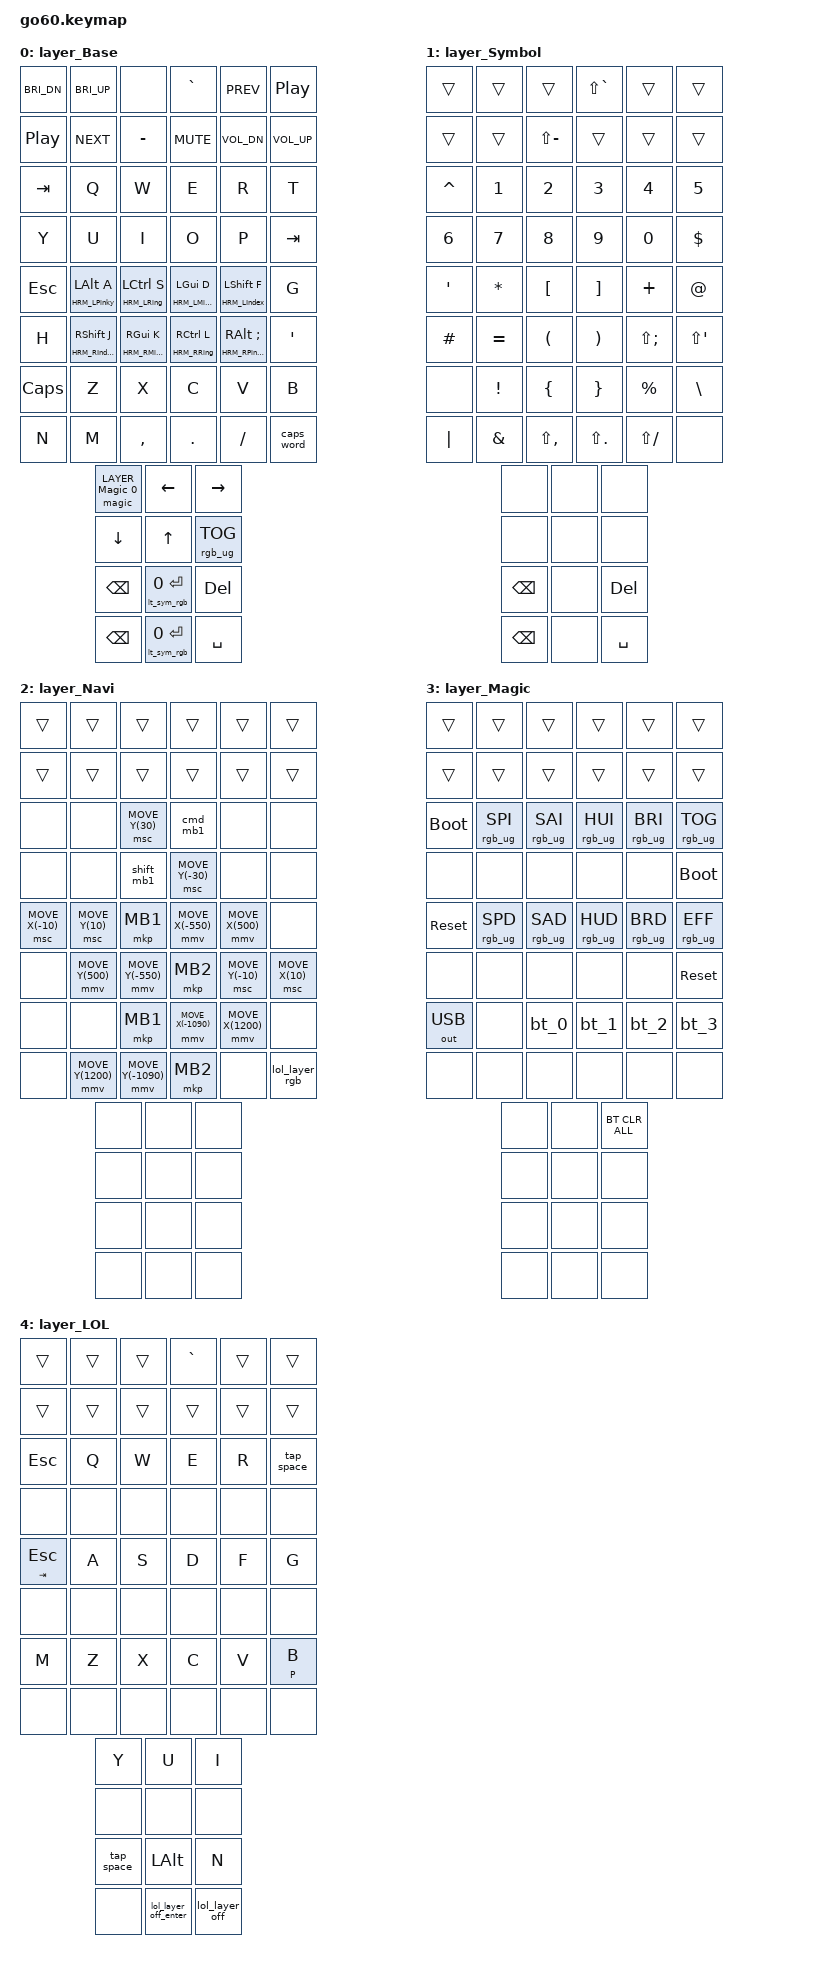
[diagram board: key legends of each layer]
/*
 * Copyright (c) 2020 The ZMK Contributors
 *
 * SPDX-License-Identifier: MIT
 */

#include <behaviors.dtsi>

#include <dt-bindings/zmk/bt.h>
#include <dt-bindings/zmk/ext_power.h>
#include <dt-bindings/zmk/keys.h>
#include <dt-bindings/zmk/outputs.h>
#include <dt-bindings/zmk/rgb.h>
#include <dt-bindings/zmk/input_transform.h>
#include <dt-bindings/zmk/pointing.h>

#include <input/processors.dtsi>
#include <zephyr/dt-bindings/input/input-event-codes.h>
#include "go60_key_groups.h"

// layers
#define LAYER_Base 0
#define LAYER_Symbol 1
#define LAYER_Navi 2
#define LAYER_Magic 3
#define LAYER_LOL 4

#include "go60_macros.dtsi"
#include "go60_behaviors.dtsi"

/ {
    input_processors {
        zip_click_to_right_click_mapper: zip_click_to_right_click_mapper {
            compatible = "zmk,input-processor-code-mapper";
            #input-processor-cells = <0>;
            type = <INPUT_EV_KEY>;
            map = <INPUT_BTN_0 INPUT_BTN_1>;
        };
    };

    combos {
        compatible = "zmk,combos";

        underscore_combo {
            timeout-ms = <81>;
            key-positions = <54 59>;
            bindings = <&kp UNDER>;
        };

        navigation_combo {
            timeout-ms = <2000>;
            key-positions = <55 58>;
            bindings = <&navi_layer_rgb>;
        };
    };

    keymap {
        compatible = "zmk,keymap";
        layer_Base {
            bindings = <
            // ---------------------------------------
            // --- Function row ---
            &kp C_BRI_DN  &kp C_BRI_UP  &none  &kp GRAVE  &kp C_PREV  &kp C_PP
            &kp C_PP  &kp C_NEXT  &kp MINUS  &kp C_MUTE  &kp C_VOL_DN  &kp C_VOL_UP

            // ---------------------------------------
            // --- Top alpha ---
            &kp TAB  &kp Q  &kp W  &kp E  &kp R  &kp T
            &kp Y  &kp U  &kp I  &kp O  &kp P  &kp TAB

            // ---------------------------------------
            // --- Home row ---
            &kp ESC  &HRM_LPinky LALT A  &HRM_LRing LCTRL S  &HRM_LMiddle LGUI D  &HRM_LIndex LSHFT F  &kp G
            &kp H  &HRM_RIndex RSHFT J  &HRM_RMiddle RGUI K  &HRM_RRing RCTRL L  &HRM_RPinky RALT SEMI  &kp SQT

            // ---------------------------------------
            // --- Bottom row ---
            &kp CAPS  &kp Z  &kp X  &kp C  &kp V  &kp B
            &kp N  &kp M  &kp COMMA  &kp DOT  &kp FSLH  &caps_word

            // ---------------------------------------
            // --- Upper thumb ---
            &magic LAYER_Magic 0  &kp LEFT  &kp RIGHT
            &kp DOWN  &kp UP  &rgb_ug RGB_TOG

            // ---------------------------------------
            // --- Lower thumb ---
            &kp BSPC  &lt_sym_rgb 0 RET  &kp DEL
            &kp BSPC  &lt_sym_rgb 0 RET  &kp SPACE

            >;
        };

        layer_Symbol {
            bindings = <
            // ---------------------------------------
            // --- Function row ---
            &trans  &trans  &trans  &kp LS(GRAVE)  &trans  &trans
            &trans  &trans  &kp LS(MINUS)  &trans  &trans  &trans

            // ---------------------------------------
            // --- Top alpha ---
            &kp CARET  &kp N1  &kp N2  &kp N3  &kp N4  &kp N5
            &kp N6  &kp N7  &kp N8  &kp N9  &kp N0  &kp DLLR

            // ---------------------------------------
            // --- Home row ---
            &kp SQT  &kp STAR  &kp LBKT  &kp RBKT  &kp PLUS  &kp AT
            &kp HASH  &kp EQUAL  &kp LPAR  &kp RPAR  &kp LS(SEMI)  &kp LS(SQT)

            // ---------------------------------------
            // --- Bottom row ---
            &none  &kp EXCL  &kp LBRC  &kp RBRC  &kp PRCNT  &kp BSLH
            &kp PIPE  &kp AMPS  &kp LS(COMMA)  &kp LS(DOT)  &kp LS(FSLH)  &none

            // ---------------------------------------
            // --- Upper thumb ---
            &none  &none  &none
            &none  &none  &none

            // ---------------------------------------
            // --- Lower thumb ---
            &kp BSPC  &none  &kp DEL
            &kp BSPC  &none  &kp SPACE

            >;
        };

        layer_Navi {
            bindings = <
            // ---------------------------------------
            // --- Function row ---
            &trans  &trans  &trans  &trans  &trans  &trans
            &trans  &trans  &trans  &trans  &trans  &trans

            // ---------------------------------------
            // --- Top alpha ---
            &none  &none  &msc MOVE_Y(30)  &cmd_mb1  &none  &none
            &none  &none  &shift_mb1  &msc MOVE_Y(-30)  &none  &none

            // ---------------------------------------
            // --- Home row ---
            &msc MOVE_X(-10)  &msc MOVE_Y(10)  &mkp MB1  &mmv MOVE_X(-550)  &mmv MOVE_X(500)  &none
            &none  &mmv MOVE_Y(500)  &mmv MOVE_Y(-550)  &mkp MB2  &msc MOVE_Y(-10)  &msc MOVE_X(10)

            // ---------------------------------------
            // --- Bottom row ---
            &none  &none  &mkp MB1  &mmv MOVE_X(-1090)  &mmv MOVE_X(1200)  &none
            &none  &mmv MOVE_Y(1200)  &mmv MOVE_Y(-1090)  &mkp MB2  &none  &lol_layer_rgb

            // ---------------------------------------
            // --- Upper thumb ---
            &none  &none  &none
            &none  &none  &none

            // ---------------------------------------
            // --- Lower thumb ---
            &none  &none  &none
            &none  &none  &none

            >;
        };

        layer_Magic {
            bindings = <
            // ---------------------------------------
            // --- Function row ---
            &trans  &trans  &trans  &trans  &trans  &trans
            &trans  &trans  &trans  &trans  &trans  &trans

            // ---------------------------------------
            // --- Top alpha ---
            &bootloader  &rgb_ug RGB_SPI  &rgb_ug RGB_SAI  &rgb_ug RGB_HUI  &rgb_ug RGB_BRI  &rgb_ug RGB_TOG
            &none  &none  &none  &none  &none  &bootloader

            // ---------------------------------------
            // --- Home row ---
            &sys_reset  &rgb_ug RGB_SPD  &rgb_ug RGB_SAD  &rgb_ug RGB_HUD  &rgb_ug RGB_BRD  &rgb_ug RGB_EFF
            &none  &none  &none  &none  &none  &sys_reset

            // ---------------------------------------
            // --- Bottom row ---
            &out OUT_USB  &none  &bt_0  &bt_1  &bt_2  &bt_3
            &none  &none  &none  &none  &none  &none

            // ---------------------------------------
            // --- Upper thumb ---
            &none  &none  &bt BT_CLR_ALL
            &none  &none  &none

            // ---------------------------------------
            // --- Lower thumb ---
            &none  &none  &none
            &none  &none  &none

            >;
        };

        layer_LOL {
            bindings = <
            // ---------------------------------------
            // --- Function row ---
            &trans  &trans  &trans  &kp GRAVE  &trans  &trans
            &trans  &trans  &trans  &trans  &trans  &trans

            // ---------------------------------------
            // --- Top alpha ---
            &kp ESC  &kp Q  &kp W  &kp E  &kp R  &tap_space
            &none  &none  &none  &none  &none  &none

            // ---------------------------------------
            // --- Home row ---
            &ht_lol_bp TAB ESC  &kp A  &kp S  &kp D  &kp F  &kp G
            &none  &none  &none  &none  &none  &none

            // ---------------------------------------
            // --- Bottom row ---
            &kp M  &kp Z  &kp X  &kp C  &kp V  &ht_lol_bp P B
            &none  &none  &none  &none  &none  &none

            // ---------------------------------------
            // --- Upper thumb ---
            &kp Y  &kp U  &kp I
            &none  &none  &none

            // ---------------------------------------
            // --- Lower thumb ---
            &tap_space  &kp LALT  &kp N
            &none  &lol_layer_off_enter  &lol_layer_off

            >;
        };
    };
};

&cirque_rh_listener {
    input-processors = <&zip_xy_scaler 2 1>;
};

&cirque_lh_listener {
    input-processors = <&zip_xy_to_scroll_mapper>, <&zip_xy_scaler 1 16>, <&zip_click_to_right_click_mapper>;
};
